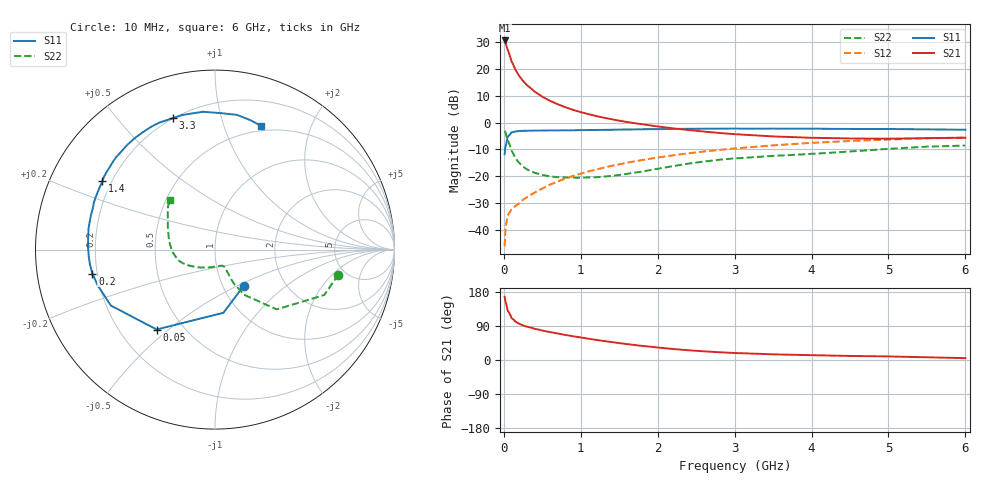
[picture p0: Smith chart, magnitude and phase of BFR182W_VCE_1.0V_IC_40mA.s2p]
! Infineon Technologies  Discrete & RF Semiconductors
! BFR182W
! VCE =  1.0 V,  IC =  40 mA
! Common Emitter S-Parameters:  Jan 2017
# GHz  S  MA  R  50
!  f  S11  S21  S12  S22
! GHz  MAG  ANG  MAG  ANG  MAG  ANG  MAG  ANG
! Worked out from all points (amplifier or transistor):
!   77 points, 10 MHz to 6 GHz, reference 50 ohm
!   highest |S21| = 30.6 dB at 10 MHz (marker M1)
!   |S21| within 3 dB of that: start of sweep to 45.12 MHz
!   unconditionally stable (mu >= 1): start of sweep to 14.79 MHz; 172.3 MHz to end of sweep
!   at 130 MHz: K = 0.85, MSG = 26.3 dB, |S12| = -31.5 dB
!   at 2.2 GHz: K = 1.19, MAG = 2.4 dB, |S12| = -12.2 dB
!   at 6 GHz: K = 1.13, MAG = -2.2 dB, |S12| = -5.6 dB
!   S11 on the Smith chart (normalised r, x): 10 MHz: 1.25, -0.54; 50 MHz: 0.36, -0.46; 200 MHz: 0.18, -0.09; 1.4 GHz: 0.17, +0.27; 3.3 GHz: 0.20, +0.71; 6 GHz: 0.44, +1.34
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0.01  0.2575 -51.4  33.77 166.9  0.005 67.1  0.7019 -11.4
0.02  0.3552 -82.4  31.78 155.1  0.0099 66.2  0.659 -22.6
0.05  0.5511 -126.1  22.77 129.8  0.0182 52.0  0.4783 -44.1
0.1  0.6584 -151.7  13.83 110.5  0.0242 46.7  0.2998 -57.2
0.15  0.6829 -162.8  9.655 101.4  0.028 48.8  0.2176 -60.9
0.2  0.696 -168.9  7.36 95.6  0.0313 52.9  0.1766 -61.4
0.25  0.7017 -173.4  5.945 91.2  0.0366 55.1  0.1511 -61.0
0.3  0.7042 -176.8  4.973 88.0  0.0406 59.4  0.1345 -60.9
0.4  0.7084 178.2  3.77 82.4  0.0497 62.7  0.116 -60.9
0.5  0.71 174.0  3.03 77.8  0.0592 65.1  0.106 -62.4
0.6  0.7143 170.6  2.544 73.7  0.0699 66.5  0.0996 -65.0
0.8  0.7173 164.6  1.93 66.1  0.0912 68.9  0.0948 -72.1
0.9  0.718 161.8  1.722 62.7  0.1014 68.6  0.0946 -76.9
1.1  0.7262 156.4  1.434 56.2  0.1232 68.5  0.0954 -87.2
1.4  0.734 148.8  1.155 47.4  0.1564 67.0  0.1015 -104.7
1.7  0.7456 141.7  0.974 39.6  0.1898 64.7  0.1166 -121.0
2.1  0.7574 132.3  0.813 31.0  0.2345 60.5  0.1462 -138.8
3.1  0.7702 111.6  0.597 17.8  0.3386 48.3  0.2197 -168.0
3.3  0.7691 107.6  0.574 16.4  0.3572 45.7  0.2291 -173.2
4.1  0.7678 93.5  0.518 12.3  0.4257 35.4  0.2664 165.5
5.1  0.7573 79.6  0.504 9.0  0.4878 23.3  0.3305 142.8
6  0.7358 69.7  0.522 4.9  0.5272 13.6  0.3728 131.7
